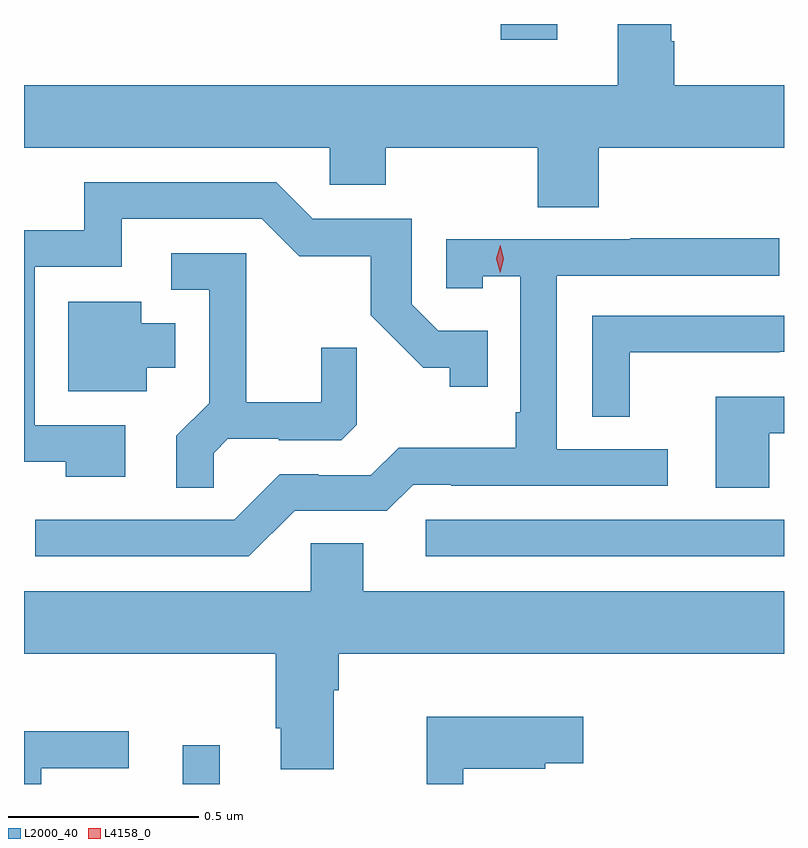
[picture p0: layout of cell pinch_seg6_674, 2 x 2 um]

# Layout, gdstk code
import gdstk
lib = gdstk.Library(unit=1e-6, precision=1e-09)
def R(c, l, rs):  # rectangles x0, y0, x1, y1
    for r in rs: c.add(gdstk.rectangle(r[:2], r[2:], *l))
def P(c, l, *ps):  # polygons
    for p in ps: c.add(gdstk.Polygon(p, *l))
L2000_40 = (2000, 40)
L4158_0 = (4158, 0)

pinch_seg6_674 = lib.new_cell('pinch_seg6_674')
R(pinch_seg6_674, L2000_40, [(495.732,948.325,495.829,948.427), (496.371,948.924,497.314,949.02), (496.568,950.283,496.717,950.325)])
P(pinch_seg6_674, L2000_40, [(495.314,950),(496.119,950),(496.119,949.902),(496.266,949.902),(496.266,950),(496.666,950),(496.666,949.843),(496.826,949.843),(496.826,950),(497.314,950),(497.314,950.164),(497.025,950.164),(497.025,950.279),(497.017,950.279),(497.017,950.325),(496.877,950.325),(496.877,950.164),(495.314,950.164)],
  [(495.58,949.269),(495.342,949.269),(495.342,949.686),(495.571,949.686),(495.571,949.812),(495.939,949.812),(496.038,949.714),(496.227,949.714),(496.227,949.558),(496.364,949.421),(496.434,949.421),(496.434,949.371),(496.535,949.371),(496.535,949.518),(496.404,949.518),(496.335,949.587),(496.335,949.812),(496.074,949.812),(495.978,949.908),(495.473,949.908),(495.473,949.782),(495.314,949.782),(495.314,949.173),(495.424,949.173),(495.424,949.133),(495.58,949.133)],
  [(496.026,949.044),(496.269,949.044),(496.338,949.113),(496.438,949.113),(496.438,949.11),(497.008,949.11),(497.008,949.206),(496.716,949.206),(496.716,949.662),(497.302,949.662),(497.302,949.761),(496.909,949.761),(496.909,949.758),(496.425,949.758),(496.425,949.629),(496.521,949.629),(496.521,949.661),(496.62,949.661),(496.62,949.303),(496.608,949.303),(496.608,949.21),(496.3,949.21),(496.227,949.137),(496.088,949.137),(496.088,949.14),(495.987,949.14),(495.867,949.02),(495.344,949.02),(495.344,948.924),(495.906,948.924)],
  [(495.813,949.196),(495.85,949.233),(495.984,949.233),(495.984,949.23),(496.149,949.23),(496.19,949.271),(496.19,949.473),(496.096,949.473),(496.096,949.33),(495.899,949.33),(495.899,949.722),(495.702,949.722),(495.702,949.626),(495.801,949.626),(495.801,949.327),(495.715,949.241),(495.715,949.105),(495.813,949.105)],
  [(495.637,949.421),(495.712,949.421),(495.712,949.537),(495.622,949.537),(495.622,949.594),(495.431,949.594),(495.431,949.358),(495.637,949.358)],
  [(496.908,949.461),(497.303,949.461),(497.303,949.462),(497.314,949.462),(497.314,949.557),(496.809,949.557),(496.809,949.291),(496.908,949.291)],
  [(497.275,949.248),(497.314,949.248),(497.314,949.344),(497.135,949.344),(497.135,949.105),(497.275,949.105)],
  [(496.068,948.832),(495.314,948.832),(495.314,948.668),(495.977,948.668),(495.977,948.472),(495.989,948.472),(495.989,948.364),(496.129,948.364),(496.129,948.572),(496.142,948.572),(496.142,948.668),(497.314,948.668),(497.314,948.832),(496.207,948.832),(496.207,948.959),(496.068,948.959)],
  [(496.47,948.365),(496.686,948.365),(496.686,948.38),(496.786,948.38),(496.786,948.502),(496.374,948.502),(496.374,948.325),(496.47,948.325)],
  [(495.36,948.366),(495.589,948.366),(495.589,948.464),(495.314,948.464),(495.314,948.325),(495.36,948.325)])
P(pinch_seg6_674, L4158_0, [(496.567,949.671),(496.567,949.671),(496.557,949.707),(496.567,949.743),(496.567,949.743),(496.567,949.743),(496.577,949.707),(496.567,949.671)])

lib.write_gds('pinch_seg6_674.gds')
